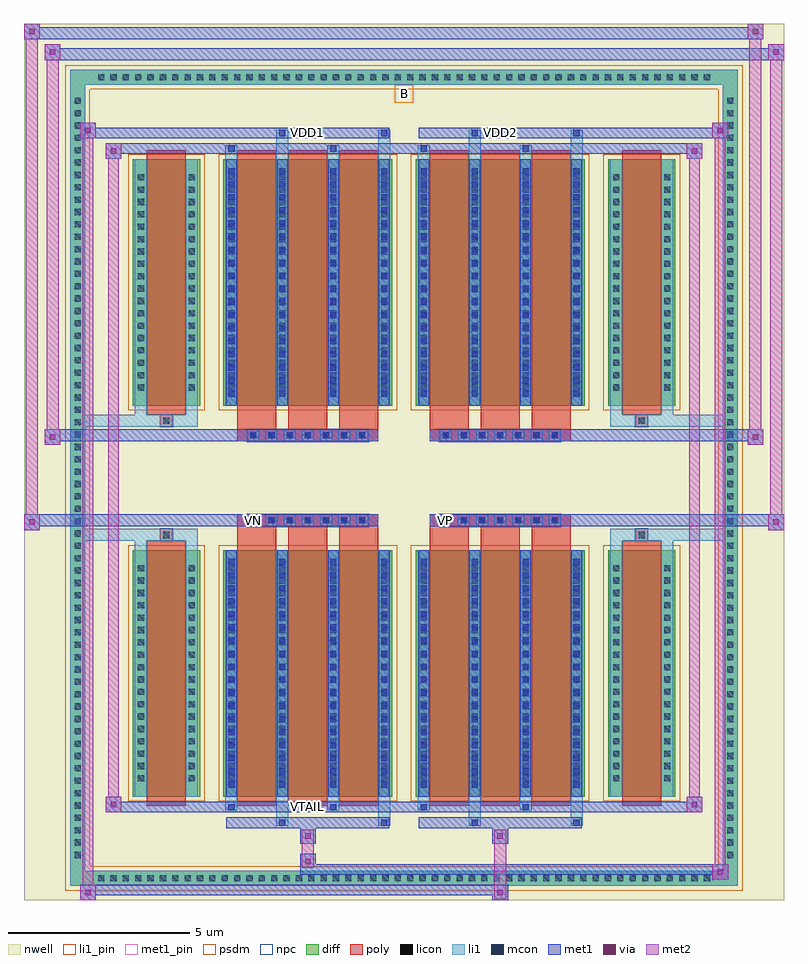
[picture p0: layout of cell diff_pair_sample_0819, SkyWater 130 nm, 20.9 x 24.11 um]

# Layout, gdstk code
import gdstk
lib = gdstk.Library(unit=1e-6, precision=5e-09)
def R(c, l, rs):  # rectangles x0, y0, x1, y1
    for r in rs: c.add(gdstk.rectangle(r[:2], r[2:], *l))
def A(c, l, x, y, w, h, nx, ny, dx, dy):  # array of equal rectangles
    R(c, l, [(x+i*dx, y+j*dy, x+i*dx+w, y+j*dy+h) for i in range(nx) for j in range(ny)])
def P(c, l, *ps):  # polygons
    for p in ps: c.add(gdstk.Polygon(p, *l))
nwell = (64, 20)
diff = (65, 20)
poly = (66, 20)
licon = (66, 44)
li1_pin = (67, 16)
li1 = (67, 20)
mcon = (67, 44)
met1_pin = (68, 16)
met1 = (68, 20)
via = (68, 44)
met2 = (69, 20)
psdm = (94, 20)
npc = (95, 20)

diff_pair_sample_0819 = lib.new_cell('diff_pair_sample_0819')
R(diff_pair_sample_0819, nwell, [(-10.45,-11.62,10.45,12.49), (-7.77,-9.81,-0.01,-0.805), (0.01,-9.81,7.77,-0.805), (-7.77,0.805,-0.01,9.81), (0.01,0.805,7.77,9.81)])
A(diff_pair_sample_0819, diff, -8.535, -11.22, 0.41, 0.41, 50, 2, 0.34, 22.03)
A(diff_pair_sample_0819, diff, -9.18, -10.575, 0.41, 0.41, 1, 62, 0, 0.34)
A(diff_pair_sample_0819, diff, 8.77, -10.575, 0.41, 0.41, 1, 62, 0, 0.34)
R(diff_pair_sample_0819, diff, [(-8.535,-11.22,8.535,-10.81), (-9.18,-10.575,-8.77,10.575), (8.77,-10.575,9.18,10.575), (-7.46,-8.765,-5.61,-1.985), (-4.97,-8.765,-0.32,-1.985), (0.32,-8.765,4.97,-1.985), (5.61,-8.765,7.46,-1.985), (-7.46,1.985,-5.61,8.765), (-4.97,1.985,-0.32,8.765), (0.32,1.985,4.97,8.765), (5.61,1.985,7.46,8.765), (-8.535,10.81,8.535,11.22)])
P(diff_pair_sample_0819, diff, [(9.18,11.22),(-9.18,11.22),(-9.18,-10.81),(-8.77,-10.81),(-8.77,10.81),(8.77,10.81),(8.77,-10.81),(-8.77,-10.81),(-9.18,-10.81),(-9.18,-11.22),(9.18,-11.22)])
A(diff_pair_sample_0819, poly, -4.58, -9.015, 1.07, 7.28, 3, 2, 1.4, 10.75)
A(diff_pair_sample_0819, poly, 0.71, -9.015, 1.07, 7.28, 3, 2, 1.4, 10.75)
A(diff_pair_sample_0819, poly, -4.58, -1.735, 1.07, 0.4, 3, 2, 1.4, 3.07)
A(diff_pair_sample_0819, poly, 0.71, -1.735, 1.07, 0.4, 3, 2, 1.4, 3.07)
A(diff_pair_sample_0819, poly, -4.31, -1.335, 0.33, 0.33, 7, 2, 0.5, 2.34)
A(diff_pair_sample_0819, poly, 0.98, -1.335, 0.33, 0.33, 7, 2, 0.5, 2.34)
R(diff_pair_sample_0819, poly, [(-7.07,-9.015,-6,-1.735), (6,-9.015,7.07,-1.735), (-6.7,-1.735,-6.37,-1.405), (-6.7,-1.735,-6.37,-1.405), (6.37,-1.735,6.7,-1.405), (6.37,-1.735,6.7,-1.405), (-4.58,-1.335,-0.71,-1.005), (0.71,-1.335,4.58,-1.005), (-4.58,1.005,-0.71,1.335), (0.71,1.005,4.58,1.335), (-6.7,1.405,-6.37,1.735), (-6.7,1.405,-6.37,1.735), (6.37,1.405,6.7,1.735), (6.37,1.405,6.7,1.735), (-7.07,1.735,-6,9.015), (6,1.735,7.07,9.015)])
A(diff_pair_sample_0819, licon, -8.415, -11.1, 0.17, 0.17, 50, 2, 0.34, 22.03)
A(diff_pair_sample_0819, licon, -9.06, -10.455, 0.17, 0.17, 1, 62, 0, 0.34)
A(diff_pair_sample_0819, licon, 8.89, -10.455, 0.17, 0.17, 1, 62, 0, 0.34)
A(diff_pair_sample_0819, licon, -7.32, -8.35, 0.17, 0.17, 1, 18, 0, 0.34)
A(diff_pair_sample_0819, licon, -5.92, -8.35, 0.17, 0.17, 1, 18, 0, 0.34)
A(diff_pair_sample_0819, licon, -4.83, -8.35, 0.17, 0.17, 4, 18, 1.4, 0.34)
A(diff_pair_sample_0819, licon, 0.46, -8.35, 0.17, 0.17, 4, 18, 1.4, 0.34)
A(diff_pair_sample_0819, licon, 5.75, -8.35, 0.17, 0.17, 1, 18, 0, 0.34)
A(diff_pair_sample_0819, licon, 7.15, -8.35, 0.17, 0.17, 1, 18, 0, 0.34)
A(diff_pair_sample_0819, licon, -4.23, -1.255, 0.17, 0.17, 7, 2, 0.5, 2.34)
A(diff_pair_sample_0819, licon, 1.06, -1.255, 0.17, 0.17, 7, 2, 0.5, 2.34)
A(diff_pair_sample_0819, licon, -7.32, 2.4, 0.17, 0.17, 1, 18, 0, 0.34)
A(diff_pair_sample_0819, licon, -5.92, 2.4, 0.17, 0.17, 1, 18, 0, 0.34)
A(diff_pair_sample_0819, licon, -4.83, 2.4, 0.17, 0.17, 4, 18, 1.4, 0.34)
A(diff_pair_sample_0819, licon, 0.46, 2.4, 0.17, 0.17, 4, 18, 1.4, 0.34)
A(diff_pair_sample_0819, licon, 5.75, 2.4, 0.17, 0.17, 1, 18, 0, 0.34)
A(diff_pair_sample_0819, licon, 7.15, 2.4, 0.17, 0.17, 1, 18, 0, 0.34)
R(diff_pair_sample_0819, licon, [(-6.62,-1.655,-6.45,-1.485), (6.45,-1.655,6.62,-1.485), (-6.62,1.485,-6.45,1.655), (6.45,1.485,6.62,1.655)])
R(diff_pair_sample_0819, li1_pin, [(-0.25,10.31,0.25,10.81)])
A(diff_pair_sample_0819, li1, -8.495, -11.18, 0.33, 0.33, 50, 2, 0.34, 22.03)
A(diff_pair_sample_0819, li1, -9.14, -10.535, 0.33, 0.33, 1, 62, 0, 0.34)
A(diff_pair_sample_0819, li1, 8.81, -10.535, 0.33, 0.33, 1, 62, 0, 0.34)
A(diff_pair_sample_0819, li1, -4.91, -8.765, 0.33, 6.78, 4, 2, 1.4, 10.75)
A(diff_pair_sample_0819, li1, 0.38, -8.765, 0.33, 6.78, 4, 2, 1.4, 10.75)
A(diff_pair_sample_0819, li1, -4.83, -8.52, 0.17, 0.17, 4, 18, 1.4, 0.36)
A(diff_pair_sample_0819, li1, -4.83, -8.52, 0.17, 6.29, 4, 2, 1.4, 10.75)
A(diff_pair_sample_0819, li1, 0.46, -8.52, 0.17, 0.17, 4, 18, 1.4, 0.36)
A(diff_pair_sample_0819, li1, 0.46, -8.52, 0.17, 6.29, 4, 2, 1.4, 10.75)
A(diff_pair_sample_0819, li1, -7.4, -8.43, 0.33, 0.33, 1, 18, 0, 0.34)
A(diff_pair_sample_0819, li1, -6, -8.43, 0.33, 0.33, 1, 18, 0, 0.34)
A(diff_pair_sample_0819, li1, -4.91, -8.43, 0.33, 0.33, 4, 18, 1.4, 0.34)
A(diff_pair_sample_0819, li1, 0.38, -8.43, 0.33, 0.33, 4, 18, 1.4, 0.34)
A(diff_pair_sample_0819, li1, 5.67, -8.43, 0.33, 0.33, 1, 18, 0, 0.34)
A(diff_pair_sample_0819, li1, 7.07, -8.43, 0.33, 0.33, 1, 18, 0, 0.34)
A(diff_pair_sample_0819, li1, -4.31, -1.335, 0.33, 0.33, 7, 2, 0.5, 2.34)
A(diff_pair_sample_0819, li1, 0.98, -1.335, 0.33, 0.33, 7, 2, 0.5, 2.34)
A(diff_pair_sample_0819, li1, -4.83, 2.23, 0.17, 0.17, 4, 18, 1.4, 0.36)
A(diff_pair_sample_0819, li1, 0.46, 2.23, 0.17, 0.17, 4, 18, 1.4, 0.36)
A(diff_pair_sample_0819, li1, -7.4, 2.32, 0.33, 0.33, 1, 18, 0, 0.34)
A(diff_pair_sample_0819, li1, -6, 2.32, 0.33, 0.33, 1, 18, 0, 0.34)
A(diff_pair_sample_0819, li1, -4.91, 2.32, 0.33, 0.33, 4, 18, 1.4, 0.34)
A(diff_pair_sample_0819, li1, 0.38, 2.32, 0.33, 0.33, 4, 18, 1.4, 0.34)
A(diff_pair_sample_0819, li1, 5.67, 2.32, 0.33, 0.33, 1, 18, 0, 0.34)
A(diff_pair_sample_0819, li1, 7.07, 2.32, 0.33, 0.33, 1, 18, 0, 0.34)
R(diff_pair_sample_0819, li1, [(-9.18,-11.22,-8.77,-10.81), (-9.18,-11.22,-8.77,-10.81), (-8.77,-11.22,8.77,-10.81), (8.77,-11.22,9.18,-10.81), (8.77,-11.22,9.18,-10.81), (-9.18,-10.81,-8.77,10.81), (8.77,-10.81,9.18,10.81), (-3.51,-9.57,-3.18,-8.765), (-3.43,-9.57,-3.26,-9.4), (-0.71,-9.57,-0.38,-8.765), (-0.63,-9.57,-0.46,-9.4), (1.78,-9.57,2.11,-8.765), (1.86,-9.57,2.03,-9.4), (4.58,-9.57,4.91,-8.765), (4.66,-9.57,4.83,-9.4), (-4.91,-9.14,-4.58,-8.765), (-4.83,-9.14,-4.66,-8.97), (-2.11,-9.14,-1.78,-8.765), (-2.03,-9.14,-1.86,-8.97), (0.38,-9.14,0.71,-8.765), (0.46,-9.14,0.63,-8.97), (3.18,-9.14,3.51,-8.765), (3.26,-9.14,3.43,-8.97), (-7.4,-8.765,-7.07,-1.985), (-6,-8.765,-5.67,-1.985), (5.67,-8.765,6,-1.985), (7.07,-8.765,7.4,-1.985), (-7.4,-1.985,-7.07,-1.405), (-6,-1.985,-5.67,-1.405), (5.67,-1.985,6,-1.405), (7.07,-1.985,7.4,-1.405), (-9.18,-1.735,-6.7,-1.405), (-7.4,-1.735,-6.7,-1.405), (-6.7,-1.735,-6.37,-1.405), (-6.37,-1.735,-5.67,-1.405), (5.67,-1.735,6.37,-1.405), (6.37,-1.735,6.7,-1.405), (6.37,-1.735,9.18,-1.405), (6.7,-1.735,7.4,-1.405), (-9.18,1.405,-6.7,1.735), (-7.4,1.405,-6.7,1.735), (-7.4,1.405,-7.07,1.985), (-6.7,1.405,-6.37,1.735), (-6.37,1.405,-5.67,1.735), (-6,1.405,-5.67,1.985), (5.67,1.405,6.37,1.735), (5.67,1.405,6,1.985), (6.37,1.405,6.7,1.735), (6.37,1.405,9.18,1.735), (6.7,1.405,7.4,1.735), (7.07,1.405,7.4,1.985), (-7.4,1.985,-7.07,8.765), (-6,1.985,-5.67,8.765), (5.67,1.985,6,8.765), (7.07,1.985,7.4,8.765), (-4.91,8.765,-4.58,9.14), (-3.51,8.765,-3.18,9.57), (-2.11,8.765,-1.78,9.14), (-0.71,8.765,-0.38,9.57), (0.38,8.765,0.71,9.14), (1.78,8.765,2.11,9.57), (3.18,8.765,3.51,9.14), (4.58,8.765,4.91,9.57), (-4.83,8.97,-4.66,9.14), (-2.03,8.97,-1.86,9.14), (0.46,8.97,0.63,9.14), (3.26,8.97,3.43,9.14), (-3.43,9.4,-3.26,9.57), (-0.63,9.4,-0.46,9.57), (1.86,9.4,2.03,9.57), (4.66,9.4,4.83,9.57), (-9.18,10.81,-8.77,11.22), (-9.18,10.81,-8.77,11.22), (-8.77,10.81,8.77,11.22), (8.77,10.81,9.18,11.22), (8.77,10.81,9.18,11.22)])
A(diff_pair_sample_0819, mcon, -4.83, -8.52, 0.17, 0.17, 4, 18, 1.4, 0.36)
A(diff_pair_sample_0819, mcon, 0.46, -8.52, 0.17, 0.17, 4, 18, 1.4, 0.36)
A(diff_pair_sample_0819, mcon, -4.23, -1.255, 0.17, 0.17, 7, 2, 0.5, 2.34)
A(diff_pair_sample_0819, mcon, 1.06, -1.255, 0.17, 0.17, 7, 2, 0.5, 2.34)
A(diff_pair_sample_0819, mcon, -4.83, 2.23, 0.17, 0.17, 4, 18, 1.4, 0.36)
A(diff_pair_sample_0819, mcon, 0.46, 2.23, 0.17, 0.17, 4, 18, 1.4, 0.36)
R(diff_pair_sample_0819, mcon, [(-3.43,-9.57,-3.26,-9.4), (-0.63,-9.57,-0.46,-9.4), (1.86,-9.57,2.03,-9.4), (4.66,-9.57,4.83,-9.4), (-4.83,-9.14,-4.66,-8.97), (-2.03,-9.14,-1.86,-8.97), (0.46,-9.14,0.63,-8.97), (3.26,-9.14,3.43,-8.97), (-4.83,8.97,-4.66,9.14), (-2.03,8.97,-1.86,9.14), (0.46,8.97,0.63,9.14), (3.26,8.97,3.43,9.14), (-3.43,9.4,-3.26,9.57), (-0.63,9.4,-0.46,9.57), (1.86,9.4,2.03,9.57), (4.66,9.4,4.83,9.57)])
R(diff_pair_sample_0819, met1_pin, [(-2.78,-9.18,-2.51,-8.91), (-4.28,-1.295,-4.01,-1.025), (1.01,-1.295,1.28,-1.025), (-2.78,9.36,-2.51,9.63), (2.51,9.36,2.78,9.63)])
A(diff_pair_sample_0819, met1, -4.89, -8.765, 0.29, 6.78, 4, 2, 1.4, 10.75)
A(diff_pair_sample_0819, met1, 0.4, -8.765, 0.29, 6.78, 4, 2, 1.4, 10.75)
A(diff_pair_sample_0819, met1, -4.89, -8.58, 0.29, 0.29, 4, 18, 1.4, 0.36)
A(diff_pair_sample_0819, met1, 0.4, -8.58, 0.29, 0.29, 4, 18, 1.4, 0.36)
A(diff_pair_sample_0819, met1, -4.29, -1.315, 0.29, 0.29, 7, 2, 0.5, 2.34)
A(diff_pair_sample_0819, met1, 1, -1.315, 0.29, 0.29, 7, 2, 0.5, 2.34)
A(diff_pair_sample_0819, met1, -4.89, 2.17, 0.29, 0.29, 4, 18, 1.4, 0.36)
A(diff_pair_sample_0819, met1, 0.4, 2.17, 0.29, 0.29, 4, 18, 1.4, 0.36)
R(diff_pair_sample_0819, met1, [(-8.91,-11.62,-8.48,-11.19), (2.43,-11.62,2.86,-11.19), (-8.91,-11.48,2.86,-11.19), (8.48,-11.05,8.91,-10.62), (-2.86,-10.91,8.91,-10.62), (-2.86,-10.77,-2.43,-10.34), (-2.86,-10.06,-2.43,-9.63), (2.43,-10.06,2.86,-9.63), (-4.89,-9.63,-0.4,-9.34), (-3.49,-9.63,-3.2,-9.34), (-0.69,-9.63,-0.4,-9.34), (0.4,-9.63,4.89,-9.34), (1.8,-9.63,2.09,-9.34), (4.6,-9.63,4.89,-9.34), (-8.2,-9.2,-7.77,-8.77), (-8.2,-9.2,-4.89,-8.91), (-4.89,-9.2,-4.6,-8.91), (-4.89,-9.2,-0.4,-8.91), (-2.09,-9.2,-1.8,-8.91), (-0.4,-9.2,0.4,-8.91), (0.4,-9.2,0.69,-8.91), (0.4,-9.2,4.89,-8.91), (3.2,-9.2,3.49,-8.91), (4.89,-9.2,8.2,-8.91), (7.77,-9.2,8.2,-8.77), (-10.45,-1.435,-10.02,-1.005), (10.02,-1.435,10.45,-1.005), (-10.45,-1.335,-0.71,-1.005), (-4.58,-1.335,-0.71,-1.005), (0.71,-1.335,4.58,-1.005), (0.71,-1.335,10.45,-1.005), (-9.88,0.905,-9.45,1.335), (9.45,0.905,9.88,1.335), (-9.88,1.005,-4.58,1.335), (-4.58,1.005,-0.71,1.335), (0.71,1.005,4.58,1.335), (4.58,1.005,9.88,1.335), (-8.2,8.77,-7.77,9.2), (7.77,8.77,8.2,9.2), (-8.2,8.91,-4.89,9.2), (-4.89,8.91,-4.6,9.2), (-4.89,8.91,-0.4,9.2), (-2.09,8.91,-1.8,9.2), (-0.4,8.91,0.4,9.2), (0.4,8.91,0.69,9.2), (0.4,8.91,4.89,9.2), (3.2,8.91,3.49,9.2), (4.89,8.91,8.2,9.2), (-8.91,9.34,-8.48,9.77), (-8.91,9.34,-4.89,9.63), (-4.89,9.34,-0.4,9.63), (-3.49,9.34,-3.2,9.63), (-0.69,9.34,-0.4,9.63), (0.4,9.34,4.89,9.63), (1.8,9.34,2.09,9.63), (4.6,9.34,4.89,9.63), (4.89,9.34,8.91,9.63), (8.48,9.34,8.91,9.77), (-9.88,11.49,-9.45,11.92), (-9.88,11.49,-7.77,11.82), (-7.77,11.49,7.77,11.82), (7.77,11.49,10.45,11.82), (10.02,11.49,10.45,11.92), (-10.45,12.06,-10.02,12.49), (-10.45,12.06,-7.77,12.39), (-7.77,12.06,7.77,12.39), (7.77,12.06,9.88,12.39), (9.45,12.06,9.88,12.49)])
R(diff_pair_sample_0819, via, [(-8.77,-11.48,-8.62,-11.33), (2.57,-11.48,2.72,-11.33), (8.62,-10.91,8.77,-10.76), (-2.72,-10.63,-2.57,-10.48), (-2.72,-9.92,-2.57,-9.77), (2.57,-9.92,2.72,-9.77), (-8.06,-9.06,-7.91,-8.91), (7.91,-9.06,8.06,-8.91), (-10.31,-1.295,-10.16,-1.145), (10.16,-1.295,10.31,-1.145), (-9.74,1.045,-9.59,1.195), (9.59,1.045,9.74,1.195), (-8.06,8.91,-7.91,9.06), (7.91,8.91,8.06,9.06), (-8.77,9.48,-8.62,9.63), (8.62,9.48,8.77,9.63), (-9.74,11.63,-9.59,11.78), (10.16,11.63,10.31,11.78), (-10.31,12.2,-10.16,12.35), (9.59,12.2,9.74,12.35)])
R(diff_pair_sample_0819, met2, [(-8.91,-11.62,-8.48,-11.19), (-8.84,-11.62,-8.55,9.77), (-8.55,-11.62,-8.48,-11.19), (-8.86,-11.57,-8.53,-11.24), (2.48,-11.57,2.81,-11.24), (2.48,-11.24,2.81,-10.01), (8.48,-11.05,8.91,-10.62), (8.55,-11.05,8.84,9.77), (8.84,-11.05,8.91,-10.62), (8.53,-11,8.86,-10.67), (-2.81,-10.72,-2.48,-10.39), (-2.81,-10.39,-2.48,-10.01), (-2.81,-10.01,-2.48,-9.68), (2.48,-10.01,2.81,-9.68), (-8.2,-9.2,-7.77,-8.77), (-8.13,-9.2,-7.84,9.2), (-7.84,-9.2,-7.77,-8.77), (7.77,-9.2,8.2,-8.77), (7.84,-9.2,8.13,9.2), (8.13,-9.2,8.2,-8.77), (-8.15,-9.15,-7.82,-8.82), (7.82,-9.15,8.15,-8.82), (-10.45,-1.435,-10.02,-1.005), (-10.4,-1.435,-10.07,12.49), (-10.07,-1.435,-10.02,-1.005), (10.02,-1.435,10.45,-1.005), (10.07,-1.435,10.4,11.92), (10.4,-1.435,10.45,-1.005), (-10.4,-1.385,-10.07,-1.055), (10.07,-1.385,10.4,-1.055), (-9.88,0.905,-9.45,1.335), (-9.83,0.905,-9.5,11.92), (-9.5,0.905,-9.45,1.335), (9.45,0.905,9.88,1.335), (9.5,0.905,9.83,12.49), (9.83,0.905,9.88,1.335), (-9.83,0.955,-9.5,1.285), (9.5,0.955,9.83,1.285), (-8.2,8.77,-7.77,9.2), (-7.84,8.77,-7.77,9.2), (7.77,8.77,8.2,9.2), (8.13,8.77,8.2,9.2), (-8.15,8.82,-7.82,9.15), (7.82,8.82,8.15,9.15), (-8.91,9.34,-8.48,9.77), (-8.55,9.34,-8.48,9.77), (8.48,9.34,8.91,9.77), (8.84,9.34,8.91,9.77), (-8.86,9.39,-8.53,9.72), (8.53,9.39,8.86,9.72), (-9.88,11.49,-9.45,11.92), (-9.5,11.49,-9.45,11.92), (10.02,11.49,10.45,11.92), (10.4,11.49,10.45,11.92), (-9.83,11.54,-9.5,11.87), (10.07,11.54,10.4,11.87), (-10.45,12.06,-10.02,12.49), (-10.07,12.06,-10.02,12.49), (9.45,12.06,9.88,12.49), (9.83,12.06,9.88,12.49), (-10.4,12.11,-10.07,12.44), (9.5,12.11,9.83,12.44)])
R(diff_pair_sample_0819, psdm, [(-7.59,-8.895,-5.48,-1.855), (-5.1,-8.895,-0.19,-1.855), (0.19,-8.895,5.1,-1.855), (5.48,-8.895,7.59,-1.855), (-7.59,1.855,-5.48,8.895), (-5.1,1.855,-0.19,8.895), (0.19,1.855,5.1,8.895), (5.48,1.855,7.59,8.895)])
P(diff_pair_sample_0819, psdm, [(9.31,11.35),(-9.31,11.35),(-9.31,-10.68),(-8.64,-10.68),(-8.64,10.68),(8.64,10.68),(8.64,-10.68),(-8.64,-10.68),(-9.31,-10.68),(-9.31,-11.35),(9.31,-11.35)])
A(diff_pair_sample_0819, npc, -4.33, -1.355, 0.37, 0.37, 7, 2, 0.5, 2.34)
A(diff_pair_sample_0819, npc, 0.96, -1.355, 0.37, 0.37, 7, 2, 0.5, 2.34)
R(diff_pair_sample_0819, npc, [(-6.72,-1.755,-6.35,-1.385), (6.35,-1.755,6.72,-1.385), (-4.33,-1.355,-3.46,-0.985), (-4.33,-1.355,-3.46,-0.985), (-3.83,-1.355,-2.96,-0.985), (-3.83,-1.355,-2.96,-0.985), (-3.33,-1.355,-2.46,-0.985), (-3.33,-1.355,-2.46,-0.985), (-2.83,-1.355,-1.96,-0.985), (-2.83,-1.355,-1.96,-0.985), (-2.33,-1.355,-1.46,-0.985), (-2.33,-1.355,-1.46,-0.985), (-1.83,-1.355,-0.96,-0.985), (-1.83,-1.355,-0.96,-0.985), (0.96,-1.355,1.83,-0.985), (0.96,-1.355,1.83,-0.985), (1.46,-1.355,2.33,-0.985), (1.46,-1.355,2.33,-0.985), (1.96,-1.355,2.83,-0.985), (1.96,-1.355,2.83,-0.985), (2.46,-1.355,3.33,-0.985), (2.46,-1.355,3.33,-0.985), (2.96,-1.355,3.83,-0.985), (2.96,-1.355,3.83,-0.985), (3.46,-1.355,4.33,-0.985), (3.46,-1.355,4.33,-0.985), (-4.33,0.985,-3.46,1.355), (-4.33,0.985,-3.46,1.355), (-3.83,0.985,-2.96,1.355), (-3.83,0.985,-2.96,1.355), (-3.33,0.985,-2.46,1.355), (-3.33,0.985,-2.46,1.355), (-2.83,0.985,-1.96,1.355), (-2.83,0.985,-1.96,1.355), (-2.33,0.985,-1.46,1.355), (-2.33,0.985,-1.46,1.355), (-1.83,0.985,-0.96,1.355), (-1.83,0.985,-0.96,1.355), (0.96,0.985,1.83,1.355), (0.96,0.985,1.83,1.355), (1.46,0.985,2.33,1.355), (1.46,0.985,2.33,1.355), (1.96,0.985,2.83,1.355), (1.96,0.985,2.83,1.355), (2.46,0.985,3.33,1.355), (2.46,0.985,3.33,1.355), (2.96,0.985,3.83,1.355), (2.96,0.985,3.83,1.355), (3.46,0.985,4.33,1.355), (3.46,0.985,4.33,1.355), (-6.72,1.385,-6.35,1.755), (6.35,1.385,6.72,1.755)])
diff_pair_sample_0819.add(gdstk.Label('VTAIL', (-2.645,-9.045), layer=68, texttype=5))
diff_pair_sample_0819.add(gdstk.Label('VN', (-4.145,-1.16), layer=68, texttype=5))
diff_pair_sample_0819.add(gdstk.Label('VP', (1.145,-1.16), layer=68, texttype=5))
diff_pair_sample_0819.add(gdstk.Label('B', (0,10.56), layer=67, texttype=5))
diff_pair_sample_0819.add(gdstk.Label('VDD2', (2.645,9.495), layer=68, texttype=5))
diff_pair_sample_0819.add(gdstk.Label('VDD1', (-2.645,9.495), layer=68, texttype=5))

lib.write_gds('diff_pair_sample_0819.gds')
